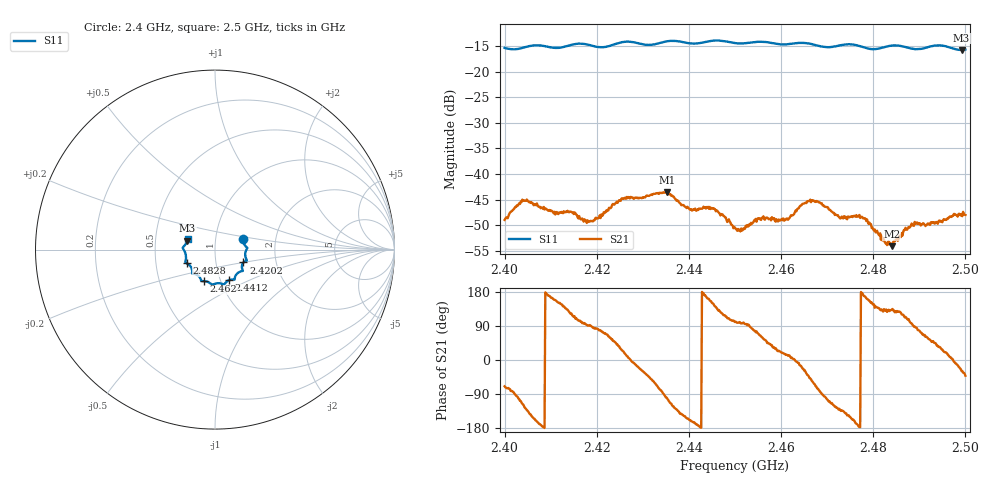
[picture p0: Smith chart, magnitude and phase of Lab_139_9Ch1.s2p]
# Hz S RI R 50
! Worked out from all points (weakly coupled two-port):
!   601 points, 2.4 GHz to 2.5 GHz, reference 50 ohm
!   highest |S21| = -43.49 dB at 2.4352 GHz (marker M1); lowest = -54.0 dB at 2.484 GHz (marker M2)
!   lowest |S11| = -15.8 dB at 2.4992 GHz (marker M3), VSWR 1.39, Z = 36.4 + j3.72 ohm
!   |S11| at or under -10 dB: start of sweep to end of sweep
!   S12 and S22 are empty: the file has one direction only
!   S11 on the Smith chart (normalised r, x): 2.4 GHz: 1.36, +0.17; 2.4202 GHz: 1.36, -0.20; 2.4412 GHz: 1.09, -0.39; 2.462 GHz: 0.83, -0.30; 2.4828 GHz: 0.72, -0.11; 2.5 GHz: 0.73, +0.09
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2.4e9  0.1583 0.0618  0.00126 -0.00335  0 0  0 0
2.404333e9  0.1714 0.0177  -0.00316 -0.0045  0 0  0 0
2.416667e9  0.1769 -0.0605  -0.000691 0.00357  0 0  0 0
2.420167e9  0.1581 -0.0718  0.000483 0.00369  0 0  0 0
2.425667e9  0.1553 -0.1162  0.00527 0.00229  0 0  0 0
2.433333e9  0.1119 -0.151  0.00195 -0.00625  0 0  0 0
2.435167e9  0.1095 -0.1637  -0.00108 -0.0066  0 0  0 0
2.441167e9  0.0762 -0.171  -0.00432 -0.00121  0 0  0 0
2.4455e9  0.0511 -0.1939  -0.00369 0.0027  0 0  0 0
2.45e9  0.0278 -0.1876  -0.000528 0.00292  0 0  0 0
2.451667e9  0.0109 -0.1877  -0.000339 0.00282  0 0  0 0
2.455667e9  -0.0149 -0.1949  0.00169 0.00315  0 0  0 0
2.462e9  -0.0608 -0.1758  0.0038 0.000547  0 0  0 0
2.466667e9  -0.0788 -0.1676  0.00319 -0.00456  0 0  0 0
2.473e9  -0.1201 -0.1351  -0.0026 -0.00267  0 0  0 0
2.477833e9  -0.1275 -0.1165  -0.00366 0.000558  0 0  0 0
2.482833e9  -0.1571 -0.0768  -0.00145 0.00156  0 0  0 0
2.483333e9  -0.1602 -0.0752  -0.00151 0.00163  0 0  0 0
2.484e9  -0.1632 -0.0738  -0.00133 0.00147  0 0  0 0
2.488833e9  -0.1614 -0.0387  0.000102 0.00314  0 0  0 0
2.499167e9  -0.1548 0.0498  0.00358 -0.00198  0 0  0 0
2.5e9  -0.1522 0.0614  0.003 -0.00264  0 0  0 0
